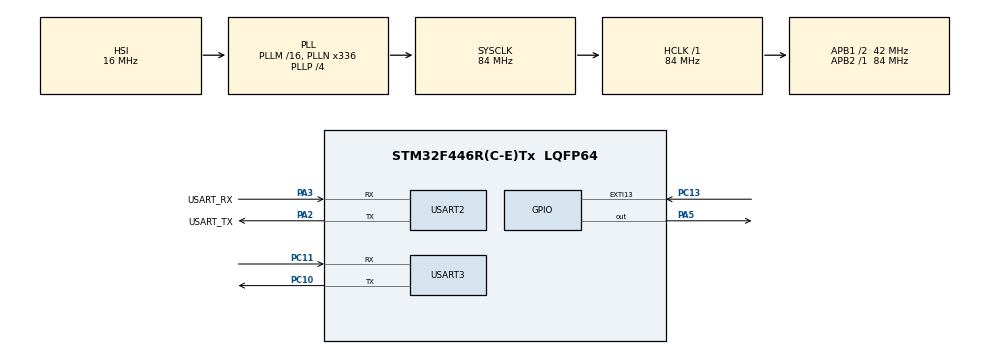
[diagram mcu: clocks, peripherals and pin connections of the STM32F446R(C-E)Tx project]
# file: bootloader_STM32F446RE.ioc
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Mcu.Family=STM32F4
Mcu.Name=STM32F446R(C-E)Tx
Mcu.Package=LQFP64
NUCLEO-F446RE.BUTTON=1
NUCLEO-F446RE.LD1=true
NVIC.EXTI15_10_IRQn=true\:0\:0\:false\:false\:true\:false\:true\:true
NVIC.PriorityGroup=NVIC_PRIORITYGROUP_0
PA13.GPIO_Label=TMS
PA13.Signal=SYS_JTMS-SWDIO
PA14.GPIO_Label=TCK
PA14.Signal=SYS_JTCK-SWCLK
PA2.GPIO_Label=USART_TX
PA2.Mode=Asynchronous
PA2.Signal=USART2_TX
PA3.GPIO_Label=USART_RX
PA3.Mode=Asynchronous
PA3.Signal=USART2_RX
PA5.Signal=GPIO_Output
PB3.GPIO_Label=SWO
PB3.Signal=SYS_JTDO-SWO
PC10.Mode=Asynchronous
PC10.Signal=USART3_TX
PC11.Mode=Asynchronous
PC11.Signal=USART3_RX
PC13.Signal=GPXTI13
PC14-OSC32_IN.Signal=RCC_OSC32_IN
PC15-OSC32_OUT.Signal=RCC_OSC32_OUT
PH0-OSC_IN.Signal=RCC_OSC_IN
PH1-OSC_OUT.Signal=RCC_OSC_OUT
ProjectManager.HeapSize=0x200
ProjectManager.StackSize=0x400
ProjectManager.TargetToolchain=STM32CubeIDE
RCC.AHBFreq_Value=84000000
RCC.APB1CLKDivider=RCC_HCLK_DIV2
RCC.APB1Freq_Value=42000000
RCC.APB1TimFreq_Value=84000000
RCC.APB2Freq_Value=84000000
RCC.APB2TimFreq_Value=84000000
RCC.CortexFreq_Value=84000000
RCC.FLatency-AdvancedSettings=FLASH_LATENCY_2
RCC.HCLKFreq_Value=84000000
RCC.HSE_VALUE=8000000
RCC.HSI_VALUE=16000000
RCC.LSE_VALUE=32768
RCC.PLLN=336
RCC.PLLP=RCC_PLLP_DIV4
RCC.SYSCLKFreq_VALUE=84000000
RCC.SYSCLKSource=RCC_SYSCLKSOURCE_PLLCLK
RCC.USBFreq_Value=168000000
RCC.VCOOutputFreq_Value=336000000
USART2.VirtualMode=VM_ASYNC
USART3.VirtualMode=VM_ASYNC
VP_CRC_VS_CRC.Mode=CRC_Activate
VP_NUCLEO-F446RE_VS_BSP_COMMON.Mode=COMMON
board=NUCLEO-F446RE

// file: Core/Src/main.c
/* USER CODE BEGIN Header */
/**
  ******************************************************************************
  * @file           : main.c
  * @brief          : Main program body
  ******************************************************************************
  * @attention
  *
  * Copyright (c) 2026 STMicroelectronics.
  * All rights reserved.
  *
  * This software is licensed under terms that can be found in the LICENSE file
  * in the root directory of this software component.
  * If no LICENSE file comes with this software, it is provided AS-IS.
  *
  ******************************************************************************
  */
/* USER CODE END Header */
#include "main.h"

/* USER CODE BEGIN Includes */
#include <string.h>
#include <stdio.h>

/* USER CODE END Includes */

/* USER CODE BEGIN PM */
#define D_UART (&huart3)
#define C_UART (&huart2)

/* USER CODE END PM */

CRC_HandleTypeDef hcrc;

UART_HandleTypeDef huart2;
UART_HandleTypeDef huart3;

/* USER CODE BEGIN PV */
uint8_t bl_rx_buffer[256];
const uint8_t supported_commands[] = {
  BL_GET_VER,
  BL_GET_HELP,
  BL_GET_CID,
  BL_GET_RDP_STATUS,
  BL_GO_TO_ADDR,
  BL_FLASH_ERASE,
  BL_MEM_WRITE,
  BL_EN_R_W_PROTECT,
  BL_MEM_READ,
  BL_READ_SECTOR_STATUS,
  BL_OTP_READ,
  BL_DIS_R_W_PROTECT
};

/* USER CODE END PV */

void SystemClock_Config(void);
static void MX_GPIO_Init(void);
static void MX_USART2_UART_Init(void);
static void MX_USART3_UART_Init(void);
static void MX_CRC_Init(void);
/* USER CODE BEGIN PFP */

void printmsg(const char *message);
uint16_t get_mcu_chip_id(void);
uint8_t get_flashrdp_level(void);
uint8_t verify_address(uint32_t go_address);
void bootlader_uart_read_data(void);
void bootlaoder_uart_jump_to_user_app(void);
void bootloader_handle_getver_cmd(uint8_t *bl_rx_buffer);
void bootloader_handle_gethelp_cmd(uint8_t *bl_rx_buffer);
void bootloader_handle_getcid_cmd(uint8_t *bl_rx_buffer);
void bootloader_handle_getrdp_cmd(uint8_t *bl_rx_buffer);
void bootloader_handle_go_cmd(uint8_t *bl_rx_buffer);
void bootloader_handle_flash_erase_cmd(uint8_t *bl_rx_buffer);
uint8_t execute_flash_erase(uint8_t sector_number, uint8_t number_of_sectors);
void bootloader_handle_mem_write_cmd(uint8_t *bl_rx_buffer);
uint8_t execute_mem_write(uint8_t *buffer, uint32_t mem_address, uint32_t length);
void bootloader_handle_endis_rw_protect(uint8_t *bl_rx_buffer);
uint8_t configure_flash_sector_rw_protection(uint8_t sector_details,
                                             uint8_t protection_mode,
                                             uint8_t disable);
void bootloader_handle_mem_read(uint8_t *bl_rx_buffer);
void bootloader_handle_read_sector_status(uint8_t *bl_rx_buffer);
void bootloader_handle_read_otp(uint8_t *bl_rx_buffer);
/* USER CODE END PFP */

/* USER CODE BEGIN 0 */
char Selectedbootloader[] = "Bootloader mode\r\n";
char SelectedApplication[] = "Application mode\r\n";
char InWhileLoop[] = "InWhileLoop\r\n";
/* USER CODE END 0 */

int main(void)
{

  /* MCU Configuration--------------------------------------------------------*/

  /* Reset of all peripherals, Initializes the Flash interface and the Systick. */
  HAL_Init();

  /* Configure the system clock */
  SystemClock_Config();

  /* Initialize all configured peripherals */
  MX_GPIO_Init();
  MX_USART2_UART_Init();
  MX_USART3_UART_Init();
  MX_CRC_Init();

  /* Initialize leds */
  BSP_LED_Init(LED2);

  /* Initialize USER push-button, will be used to trigger an interrupt each time it's pressed.*/
  BSP_PB_Init(BUTTON_USER, BUTTON_MODE_EXTI);

  /* Infinite loop */
  /* USER CODE BEGIN WHILE */
  /*check whether the button is pressed or not*/
  if(HAL_GPIO_ReadPin(KEY_BUTTON_GPIO_PORT,USER_BUTTON_PIN) == GPIO_PIN_RESET)
  {
	  printmsg(Selectedbootloader);
	  bootlader_uart_read_data();
  }
  else
  {
	  printmsg(SelectedApplication);
	  bootlaoder_uart_jump_to_user_app();
  }
  while (1)
  {

	  printmsg(InWhileLoop);
//	  uint32_t current_tick = HAL_GetTick();
//	  while(HAL_GetTick() <= (current_tick + 1000));
	  HAL_Delay(1000);
    /* USER CODE END WHILE */

  }
}

void SystemClock_Config(void)
{
  RCC_OscInitTypeDef RCC_OscInitStruct = {0};
  RCC_ClkInitTypeDef RCC_ClkInitStruct = {0};

  /** Configure the main internal regulator output voltage
  */
  __HAL_RCC_PWR_CLK_ENABLE();
  __HAL_PWR_VOLTAGESCALING_CONFIG(PWR_REGULATOR_VOLTAGE_SCALE3);

  /** Initializes the RCC Oscillators according to the specified parameters
  * in the RCC_OscInitTypeDef structure.
  */
  RCC_OscInitStruct.OscillatorType = RCC_OSCILLATORTYPE_HSI;
  RCC_OscInitStruct.HSIState = RCC_HSI_ON;
  RCC_OscInitStruct.HSICalibrationValue = RCC_HSICALIBRATION_DEFAULT;
  RCC_OscInitStruct.PLL.PLLState = RCC_PLL_ON;
  RCC_OscInitStruct.PLL.PLLSource = RCC_PLLSOURCE_HSI;
  RCC_OscInitStruct.PLL.PLLM = 16;
  RCC_OscInitStruct.PLL.PLLN = 336;
  RCC_OscInitStruct.PLL.PLLP = RCC_PLLP_DIV4;
  RCC_OscInitStruct.PLL.PLLQ = 2;
  RCC_OscInitStruct.PLL.PLLR = 2;
  if (HAL_RCC_OscConfig(&RCC_OscInitStruct) != HAL_OK)
  {
    Error_Handler();
  }

  /** Initializes the CPU, AHB and APB buses clocks
  */
  RCC_ClkInitStruct.ClockType = RCC_CLOCKTYPE_HCLK|RCC_CLOCKTYPE_SYSCLK
                              |RCC_CLOCKTYPE_PCLK1|RCC_CLOCKTYPE_PCLK2;
  RCC_ClkInitStruct.SYSCLKSource = RCC_SYSCLKSOURCE_PLLCLK;
  RCC_ClkInitStruct.AHBCLKDivider = RCC_SYSCLK_DIV1;
  RCC_ClkInitStruct.APB1CLKDivider = RCC_HCLK_DIV2;
  RCC_ClkInitStruct.APB2CLKDivider = RCC_HCLK_DIV1;

  if (HAL_RCC_ClockConfig(&RCC_ClkInitStruct, FLASH_LATENCY_2) != HAL_OK)
  {
    Error_Handler();
  }
}

static void MX_CRC_Init(void)
{

  hcrc.Instance = CRC;
  if (HAL_CRC_Init(&hcrc) != HAL_OK)
  {
    Error_Handler();
  }

}

static void MX_USART2_UART_Init(void)
{

  huart2.Instance = USART2;
  huart2.Init.BaudRate = 115200;
  huart2.Init.WordLength = UART_WORDLENGTH_8B;
  huart2.Init.StopBits = UART_STOPBITS_1;
  huart2.Init.Parity = UART_PARITY_NONE;
  huart2.Init.Mode = UART_MODE_TX_RX;
  huart2.Init.HwFlowCtl = UART_HWCONTROL_NONE;
  huart2.Init.OverSampling = UART_OVERSAMPLING_16;
  if (HAL_UART_Init(&huart2) != HAL_OK)
  {
    Error_Handler();
  }

}

static void MX_USART3_UART_Init(void)
{

  huart3.Instance = USART3;
  huart3.Init.BaudRate = 115200;
  huart3.Init.WordLength = UART_WORDLENGTH_8B;
  huart3.Init.StopBits = UART_STOPBITS_1;
  huart3.Init.Parity = UART_PARITY_NONE;
  huart3.Init.Mode = UART_MODE_TX_RX;
  huart3.Init.HwFlowCtl = UART_HWCONTROL_NONE;
  huart3.Init.OverSampling = UART_OVERSAMPLING_16;
  if (HAL_UART_Init(&huart3) != HAL_OK)
  {
    Error_Handler();
  }

}

static void MX_GPIO_Init(void)
{

  /* GPIO Ports Clock Enable */
  __HAL_RCC_GPIOC_CLK_ENABLE();
  __HAL_RCC_GPIOH_CLK_ENABLE();
  __HAL_RCC_GPIOA_CLK_ENABLE();
  __HAL_RCC_GPIOB_CLK_ENABLE();

}

/* USER CODE BEGIN 4 */
/**
  * @brief Send a null-terminated message through the debug UART.
  */
void printmsg(const char *message)
{
  HAL_UART_Transmit(D_UART, (const uint8_t *)message,
                    (uint16_t)strlen(message), HAL_MAX_DELAY);
}

/*
 * Provisional request: [length][command][arguments...][CRC32 LE].
 * length counts all bytes after itself, including the CRC.
 * Hardware CRC covers length, command and arguments (not the CRC), with
 * each byte zero-extended to one 32-bit word, MSB first, no final XOR.
 * len excludes the trailing host CRC bytes.
 */
uint8_t bootloader_verify_crc(uint8_t *p_data, uint8_t len, uint32_t crc_host)
{
  uint32_t uwCRCvalue = 0xFFU;

  if (p_data == NULL || len == 0U)
  {
    return VERIFY_CRC_FAILURE;
  }

  __HAL_CRC_DR_RESET(&hcrc);
  for (uint16_t i = 0U; i < len; ++i)
  {
    uint32_t data_word = p_data[i];
    uwCRCvalue = HAL_CRC_Accumulate(&hcrc, &data_word, 1U);
  }

  return (uwCRCvalue == crc_host) ? VERIFY_CRC_SUCCESS : VERIFY_CRC_FAILURE;
}

/* Validate framing before extracting the host CRC or narrowing the data length. */
static uint8_t bootloader_verify_packet(uint8_t *packet)
{
  if (packet == NULL)
  {
    return VERIFY_CRC_FAILURE;
  }

  uint16_t packet_len = (uint16_t)packet[0] + 1U;
  if (packet_len < BL_MIN_PACKET_SIZE || packet_len > sizeof(bl_rx_buffer))
  {
    return VERIFY_CRC_FAILURE;
  }

  uint16_t data_len = packet_len - BL_CRC_SIZE;
  uint32_t host_crc = (uint32_t)packet[data_len] |
                      ((uint32_t)packet[data_len + 1U] << 8U) |
                      ((uint32_t)packet[data_len + 2U] << 16U) |
                      ((uint32_t)packet[data_len + 3U] << 24U);
  /* A maximum 256-byte packet contains only 252 bytes covered by the CRC. */
  return bootloader_verify_crc(packet, (uint8_t)data_len, host_crc);
}

HAL_StatusTypeDef bootloader_uart_write_data(const uint8_t *data, uint16_t length)
{
  if (data == NULL || length == 0U)
  {
    return HAL_ERROR;
  }
  return HAL_UART_Transmit(C_UART, data, length, HAL_MAX_DELAY);
}

HAL_StatusTypeDef bootloader_send_ack(uint8_t reply_len)
{
  const uint8_t ack[] = {BL_ACK, reply_len};
  return bootloader_uart_write_data(ack, sizeof(ack));
}

HAL_StatusTypeDef bootloader_send_nack(void)
{
  const uint8_t nack = BL_NACK;
  return bootloader_uart_write_data(&nack, sizeof(nack));
}

uint8_t get_bootloader_version(void)
{
  return BL_VERSION;
}

uint16_t get_mcu_chip_id(void)
{
  return (uint16_t)(DBGMCU->IDCODE & DBGMCU_IDCODE_DEV_ID);
}

uint8_t get_flashrdp_level(void)
{
  uint8_t rdp_status = (uint8_t)((FLASH->OPTCR >> 8U) & 0xFFU);
  return rdp_status;
}

uint8_t verify_address(uint32_t go_address)
{
  if ((go_address >= FLASH_BASE) && (go_address <= FLASH_END))
  {
    return ADD_VALID;
  }

  if ((go_address >= SYSTEM_MEMORY_BASE_ADDRESS) &&
      (go_address <= SYSTEM_MEMORY_END_ADDRESS))
  {
    return ADD_VALID;
  }

  if ((go_address >= SRAM1_BASE) && (go_address < SRAM1_END))
  {
    return ADD_VALID;
  }

  if ((go_address >= SRAM2_BASE) && (go_address < SRAM2_END))
  {
    return ADD_VALID;
  }

  /* Check backup SRAM before the peripheral region, which contains it. */
  if ((go_address >= BKPSRAM_BASE) && (go_address < BKPSRAM_END))
  {
    return ADD_VALID;
  }

  if ((go_address >= PERIPH_BASE) &&
      (go_address <= PERIPHERAL_MEMORY_END_ADDRESS))
  {
    return ADD_INVALID;
  }

  if ((go_address >= EXTERNAL_MEMORY_BASE_ADDRESS) &&
      (go_address <= EXTERNAL_MEMORY_END_ADDRESS))
  {
    return ADD_VALID;
  }

  return ADD_INVALID;
}

void bootloader_handle_getver_cmd(uint8_t *packet)
{
  if (bootloader_verify_packet(packet) != VERIFY_CRC_SUCCESS)
  {
    printmsg("GET_VER: invalid packet or CRC\r\n");
    bootloader_send_nack();
    return;
  }
  /* GET_VER has no command arguments. */
  if ((uint16_t)packet[0] + 1U != BL_MIN_PACKET_SIZE)
  {
    printmsg("GET_VER: unexpected arguments\r\n");
    bootloader_send_nack();
    return;
  }

  if (bootloader_send_ack(1U) != HAL_OK)
  {
    return;
  }
  uint8_t bl_version = get_bootloader_version();
  char message[40];
  snprintf(message, sizeof(message), "Bootloader version: 0x%02X\r\n",
           (unsigned int)bl_version);
  printmsg(message);
  bootloader_uart_write_data(&bl_version, sizeof(bl_version));
}

void bootloader_handle_gethelp_cmd(uint8_t *packet)
{
  if (bootloader_verify_packet(packet) != VERIFY_CRC_SUCCESS)
  {
    printmsg("GET_HELP: invalid packet or CRC\r\n");
    bootloader_send_nack();
    return;
  }
  /* GET_HELP has no command arguments. */
  if ((uint16_t)packet[0] + 1U != BL_MIN_PACKET_SIZE)
  {
    printmsg("GET_HELP: unexpected arguments\r\n");
    bootloader_send_nack();
    return;
  }

  uint8_t command_count = (uint8_t)sizeof(supported_commands);
  if (bootloader_send_ack(command_count) != HAL_OK)
  {
    return;
  }
  printmsg("GET_HELP: sending supported commands\r\n");
  bootloader_uart_write_data(supported_commands, command_count);
}

void bootloader_handle_getcid_cmd(uint8_t *packet)
{
  if (bootloader_verify_packet(packet) != VERIFY_CRC_SUCCESS)
  {
    printmsg("GET_CID: invalid packet or CRC\r\n");
    bootloader_send_nack();
    return;
  }
  /* GET_CID has no command arguments. */
  if ((uint16_t)packet[0] + 1U != BL_MIN_PACKET_SIZE)
  {
    printmsg("GET_CID: unexpected arguments\r\n");
    bootloader_send_nack();
    return;
  }

  uint16_t bl_cid_num = get_mcu_chip_id();
  if (bootloader_send_ack((uint8_t)sizeof(bl_cid_num)) != HAL_OK)
  {
    return;
  }
  printmsg("GET_CID: sending MCU chip ID\r\n");
  bootloader_uart_write_data((const uint8_t *)&bl_cid_num,
                             (uint16_t)sizeof(bl_cid_num));
}

void bootloader_handle_getrdp_cmd(uint8_t *packet)
{
  if (bootloader_verify_packet(packet) != VERIFY_CRC_SUCCESS)
  {
    printmsg("GET_RDP_STATUS: invalid packet or CRC\r\n");
    bootloader_send_nack();
    return;
  }
  /* GET_RDP_STATUS has no command arguments. */
  if ((uint16_t)packet[0] + 1U != BL_MIN_PACKET_SIZE)
  {
    printmsg("GET_RDP_STATUS: unexpected arguments\r\n");
    bootloader_send_nack();
    return;
  }

  uint8_t rdp_status = get_flashrdp_level();
  if (bootloader_send_ack((uint8_t)sizeof(rdp_status)) != HAL_OK)
  {
    return;
  }
  printmsg("GET_RDP_STATUS: sending RDP option byte\r\n");
  bootloader_uart_write_data(&rdp_status, (uint16_t)sizeof(rdp_status));
}

void bootloader_handle_go_cmd(uint8_t *packet)
{
  if (bootloader_verify_packet(packet) != VERIFY_CRC_SUCCESS)
  {
    printmsg("GO_TO_ADDR: invalid packet or CRC\r\n");
    bootloader_send_nack();
    return;
  }

  /* GO_TO_ADDR carries exactly one 32-bit address argument. */
  if ((uint16_t)packet[0] + 1U !=
      (BL_MIN_PACKET_SIZE + (uint16_t)sizeof(uint32_t)))
  {
    printmsg("GO_TO_ADDR: invalid packet length\r\n");
    bootloader_send_nack();
    return;
  }

  if (bootloader_send_ack(1U) != HAL_OK)
  {
    return;
  }

  uint32_t go_address;
  memcpy(&go_address, &packet[2], sizeof(go_address));

  char message[64];
  snprintf(message, sizeof(message), "GO_TO_ADDR: address 0x%08lX\r\n",
           (unsigned long)go_address);
  printmsg(message);

  uint8_t address_status = verify_address(go_address);
  if (bootloader_uart_write_data(&address_status, sizeof(address_status)) != HAL_OK)
  {
    return;
  }

  if (address_status == ADD_VALID)
  {
    printmsg("GO_TO_ADDR: address is valid\r\n");

    /* Cortex-M function pointers must have the Thumb-state bit set. */
    go_address += 1U;
    void (*go_to_address)(void) = (void (*)(void))go_address;

    snprintf(message, sizeof(message), "GO_TO_ADDR: going to 0x%08lX\r\n",
             (unsigned long)go_address);
    printmsg(message);
    go_to_address();
  }
  else
  {
    printmsg("GO_TO_ADDR: address is invalid\r\n");
  }
}

void bootloader_handle_flash_erase_cmd(uint8_t *packet)
{
  if (bootloader_verify_packet(packet) != VERIFY_CRC_SUCCESS)
  {
    printmsg("FLASH_ERASE: invalid packet or CRC\r\n");
    bootloader_send_nack();
    return;
  }

  /* FLASH_ERASE carries a sector number and the number of sectors to erase. */
  if ((uint16_t)packet[0] + 1U !=
      (BL_MIN_PACKET_SIZE + (2U * (uint16_t)sizeof(uint8_t))))
  {
    printmsg("FLASH_ERASE: invalid packet length\r\n");
    bootloader_send_nack();
    return;
  }

  uint8_t sector_number = packet[2];
  uint8_t number_of_sectors = packet[3];

  if (bootloader_send_ack(1U) != HAL_OK)
  {
    return;
  }

  BSP_LED_On(LED2);
  uint8_t erase_status = execute_flash_erase(sector_number, number_of_sectors);
  BSP_LED_Off(LED2);

  bootloader_uart_write_data(&erase_status, sizeof(erase_status));
}

uint8_t execute_flash_erase(uint8_t sector_number, uint8_t number_of_sectors)
{
  FLASH_EraseInitTypeDef erase_config = {0};
  uint32_t sector_error = 0xFFFFFFFFU;
  HAL_StatusTypeDef erase_status;

  if ((number_of_sectors < 1U) || (number_of_sectors > 7U))
  {
    return (uint8_t)HAL_ERROR;
  }

  if (sector_number == 0xFFU)
  {
    erase_config.TypeErase = FLASH_TYPEERASE_MASSERASE;
  }
  else
  {
    if ((sector_number > FLASH_SECTOR_7) ||
        (((uint16_t)sector_number + (uint16_t)number_of_sectors) > 8U))
    {
      return (uint8_t)HAL_ERROR;
    }

    erase_config.TypeErase = FLASH_TYPEERASE_SECTORS;
    erase_config.Sector = sector_number;
    erase_config.NbSectors = number_of_sectors;
  }

  erase_config.Banks = FLASH_BANK_1;
  erase_config.VoltageRange = FLASH_VOLTAGE_RANGE_3;

  erase_status = HAL_FLASH_Unlock();
  if (erase_status == HAL_OK)
  {
    erase_status = HAL_FLASHEx_Erase(&erase_config, &sector_error);
    if ((erase_status == HAL_OK) && (sector_error != 0xFFFFFFFFU))
    {
      erase_status = HAL_ERROR;
    }
  }

  if (HAL_FLASH_Lock() != HAL_OK)
  {
    erase_status = HAL_ERROR;
  }

  return (uint8_t)erase_status;
}

void bootloader_handle_mem_write_cmd(uint8_t *packet)
{
  if (bootloader_verify_packet(packet) != VERIFY_CRC_SUCCESS)
  {
    printmsg("MEM_WRITE: invalid packet or CRC\r\n");
    bootloader_send_nack();
    return;
  }

  /* MEM_WRITE carries a 32-bit address, a one-byte payload length and data. */
  if ((uint16_t)packet[0] + 1U <
      (BL_MIN_PACKET_SIZE + (uint16_t)sizeof(uint32_t) +
       (uint16_t)sizeof(uint8_t)))
  {
    printmsg("MEM_WRITE: invalid packet length\r\n");
    bootloader_send_nack();
    return;
  }

  uint8_t payload_length = packet[6];
  uint16_t expected_packet_length = BL_MIN_PACKET_SIZE +
                                    (uint16_t)sizeof(uint32_t) +
                                    (uint16_t)sizeof(payload_length) +
                                    (uint16_t)payload_length;
  if (((uint16_t)packet[0] + 1U != expected_packet_length) ||
      (payload_length == 0U))
  {
    printmsg("MEM_WRITE: invalid packet length\r\n");
    bootloader_send_nack();
    return;
  }

  if (bootloader_send_ack(1U) != HAL_OK)
  {
    return;
  }

  uint32_t mem_address;
  memcpy(&mem_address, &packet[2], sizeof(mem_address));

  uint8_t write_status = ADD_INVALID;
  if (verify_address(mem_address) == ADD_VALID)
  {
    BSP_LED_On(LED2);
    write_status = execute_mem_write(&packet[7], mem_address, payload_length);
    BSP_LED_Off(LED2);
  }

  bootloader_uart_write_data(&write_status, sizeof(write_status));
}

uint8_t execute_mem_write(uint8_t *buffer, uint32_t mem_address, uint32_t length)
{
  HAL_StatusTypeDef status = HAL_OK;

  /* HAL_FLASH_Program is valid only when the complete write lies in flash. */
  if ((buffer == NULL) || (length == 0U) ||
      (mem_address < FLASH_BASE) || (mem_address > FLASH_END) ||
      ((length - 1U) > (FLASH_END - mem_address)))
  {
    return (uint8_t)HAL_ERROR;
  }

  status = HAL_FLASH_Unlock();
  if (status == HAL_OK)
  {
    for (uint32_t index = 0U; index < length; ++index)
    {
      status = HAL_FLASH_Program(FLASH_TYPEPROGRAM_BYTE,
                                 mem_address + index,
                                 buffer[index]);
      if (status != HAL_OK)
      {
        break;
      }
    }
  }

  if (HAL_FLASH_Lock() != HAL_OK)
  {
    status = HAL_ERROR;
  }

  return (uint8_t)status;
}

void bootloader_handle_endis_rw_protect(uint8_t *packet)
{
  if (bootloader_verify_packet(packet) != VERIFY_CRC_SUCCESS)
  {
    printmsg("EN/DIS_R_W_PROTECT: invalid packet or CRC\r\n");
    bootloader_send_nack();
    return;
  }

  uint8_t sector_details = 0U;
  uint8_t protection_mode = 0U;
  uint8_t disable = 0U;

  if (packet[1] == BL_EN_R_W_PROTECT)
  {
    /* Enable carries a sector bitmap and a protection mode. */
    if ((uint16_t)packet[0] + 1U !=
        (BL_MIN_PACKET_SIZE + (2U * (uint16_t)sizeof(uint8_t))))
    {
      printmsg("EN_R_W_PROTECT: invalid packet length\r\n");
      bootloader_send_nack();
      return;
    }

    sector_details = packet[2];
    protection_mode = packet[3];
  }
  else if (packet[1] == BL_DIS_R_W_PROTECT)
  {
    /* Disable has no arguments; the helper ignores its first two parameters. */
    if ((uint16_t)packet[0] + 1U != BL_MIN_PACKET_SIZE)
    {
      printmsg("DIS_R_W_PROTECT: invalid packet length\r\n");
      bootloader_send_nack();
      return;
    }

    disable = FLASH_PROTECTION_DISABLE;
  }
  else
  {
    bootloader_send_nack();
    return;
  }

  if (bootloader_send_ack(1U) != HAL_OK)
  {
    return;
  }

  uint8_t protection_status = configure_flash_sector_rw_protection(
      sector_details, protection_mode, disable);
  bootloader_uart_write_data(&protection_status, sizeof(protection_status));
}

uint8_t configure_flash_sector_rw_protection(uint8_t sector_details,
                                             uint8_t protection_mode,
                                             uint8_t disable)
{
  HAL_StatusTypeDef status;
  uint32_t option_value;
  const uint32_t error_flags = FLASH_FLAG_OPERR | FLASH_FLAG_WRPERR |
                               FLASH_FLAG_PGAERR | FLASH_FLAG_PGPERR |
                               FLASH_FLAG_PGSERR | FLASH_FLAG_RDERR;

  if ((disable != FLASH_PROTECTION_DISABLE) &&
      ((sector_details == 0U) ||
       ((protection_mode != FLASH_PROTECTION_WRITE) &&
        (protection_mode != FLASH_PROTECTION_READ_WRITE))))
  {
    return (uint8_t)HAL_ERROR;
  }

  status = HAL_FLASH_OB_Unlock();
  if (status != HAL_OK)
  {
    return (uint8_t)status;
  }

  while (__HAL_FLASH_GET_FLAG(FLASH_FLAG_BSY) != RESET)
  {
  }

  __HAL_FLASH_CLEAR_FLAG(FLASH_FLAG_EOP | error_flags);

  option_value = FLASH->OPTCR;
  option_value &= ~(FLASH_OPTCR_SPRMOD | FLASH_OPTCR_nWRP_Msk);

  if (disable == FLASH_PROTECTION_DISABLE)
  {
    /* SPRMOD=0 and nWRP=1 disable protection for every F446 sector. */
    option_value |= ((uint32_t)FLASH_USER_SECTOR_MASK <<
                     FLASH_OPTCR_nWRP_Pos);
  }
  else if (protection_mode == FLASH_PROTECTION_WRITE)
  {
    /* SPRMOD=0: a zero nWRP bit enables write protection. */
    option_value |= ((uint32_t)(~sector_details & FLASH_USER_SECTOR_MASK) <<
                     FLASH_OPTCR_nWRP_Pos);
  }
  else
  {
    /* SPRMOD=1: a one nWRP bit enables PCROP read/write protection. */
    option_value |= FLASH_OPTCR_SPRMOD;
    option_value |= ((uint32_t)sector_details << FLASH_OPTCR_nWRP_Pos);
  }

  FLASH->OPTCR = option_value;
  FLASH->OPTCR |= FLASH_OPTCR_OPTSTRT;

  while (__HAL_FLASH_GET_FLAG(FLASH_FLAG_BSY) != RESET)
  {
  }

  if (__HAL_FLASH_GET_FLAG(FLASH_FLAG_EOP) != RESET)
  {
    __HAL_FLASH_CLEAR_FLAG(FLASH_FLAG_EOP);
  }

  if (__HAL_FLASH_GET_FLAG(error_flags) != RESET)
  {
    status = HAL_ERROR;
    __HAL_FLASH_CLEAR_FLAG(error_flags);
  }

  if (HAL_FLASH_OB_Lock() != HAL_OK)
  {
    status = HAL_ERROR;
  }

  return (uint8_t)status;
}

void bootloader_handle_mem_read(uint8_t *packet)
{
  if (bootloader_verify_packet(packet) != VERIFY_CRC_SUCCESS)
  {
    printmsg("MEM_READ: invalid packet or CRC\r\n");
    bootloader_send_nack();
    return;
  }
  /* ACK confirms receipt/CRC only; command execution remains a TODO. */
  if (bootloader_send_ack(0U) != HAL_OK)
  {
    return;
  }
  printmsg("MEM_READ: handler not implemented\r\n");
}

void bootloader_handle_read_sector_status(uint8_t *packet)
{
  if (bootloader_verify_packet(packet) != VERIFY_CRC_SUCCESS)
  {
    printmsg("READ_SECTOR_STATUS: invalid packet or CRC\r\n");
    bootloader_send_nack();
    return;
  }
  /* ACK confirms receipt/CRC only; command execution remains a TODO. */
  if (bootloader_send_ack(0U) != HAL_OK)
  {
    return;
  }
  printmsg("READ_SECTOR_STATUS: handler not implemented\r\n");
}

void bootloader_handle_read_otp(uint8_t *packet)
{
  if (bootloader_verify_packet(packet) != VERIFY_CRC_SUCCESS)
  {
    printmsg("OTP_READ: invalid packet or CRC\r\n");
    bootloader_send_nack();
    return;
  }
  /* ACK confirms receipt/CRC only; command execution remains a TODO. */
  if (bootloader_send_ack(0U) != HAL_OK)
  {
    return;
  }
  printmsg("OTP_READ: handler not implemented\r\n");
}

void bootlader_uart_read_data(void)
{
  uint8_t rcv_len;

  while (1)
  {
    memset(bl_rx_buffer, 0, sizeof(bl_rx_buffer));

    /* Read the number of bytes that follow the length byte. */
    if (HAL_UART_Receive(C_UART, bl_rx_buffer, 1, HAL_MAX_DELAY) != HAL_OK)
    {
      continue;
    }
    rcv_len = bl_rx_buffer[0];

    /* Keep the length at index 0 and receive the payload after it. */
    if (rcv_len > 0)
    {
      if (HAL_UART_Receive(C_UART, &bl_rx_buffer[1], rcv_len, HAL_MAX_DELAY) != HAL_OK)
      {
        continue;
      }

      /* The second byte contains the command code. */
      switch (bl_rx_buffer[1])
      {
        case BL_GET_VER:
          bootloader_handle_getver_cmd(bl_rx_buffer);
          break;

        case BL_GET_HELP:
          bootloader_handle_gethelp_cmd(bl_rx_buffer);
          break;

        case BL_GET_CID:
          bootloader_handle_getcid_cmd(bl_rx_buffer);
          break;

        case BL_GET_RDP_STATUS:
          bootloader_handle_getrdp_cmd(bl_rx_buffer);
          break;

        case BL_GO_TO_ADDR:
          bootloader_handle_go_cmd(bl_rx_buffer);
          break;

        case BL_FLASH_ERASE:
          bootloader_handle_flash_erase_cmd(bl_rx_buffer);
          break;

        case BL_MEM_WRITE:
          bootloader_handle_mem_write_cmd(bl_rx_buffer);
          break;

        case BL_EN_R_W_PROTECT:
          bootloader_handle_endis_rw_protect(bl_rx_buffer);
          break;

        case BL_MEM_READ:
          bootloader_handle_mem_read(bl_rx_buffer);
          break;

        case BL_READ_SECTOR_STATUS:
          bootloader_handle_read_sector_status(bl_rx_buffer);
          break;

        case BL_OTP_READ:
          bootloader_handle_read_otp(bl_rx_buffer);
          break;

        case BL_DIS_R_W_PROTECT:
          bootloader_handle_endis_rw_protect(bl_rx_buffer);
          break;

        default:
          printmsg("Invalid command recieved from the host\r\n");
          break;
      }
    }
  }
}

void bootlaoder_uart_jump_to_user_app(void)
{
	//function to hold the address of reset handler of the3 user app
	void (*app_reset_handler)(void);

	// configure MSP by reading the value from the base addrress of sector 2
	uint32_t msp_value =  *(volatile uint32_t *)FLASH_SECTOR2_BASE_ADDRESS;

	//The function comes from CMSIS
	__set_MSP(msp_value);

	//Fetching the reset handler address of user application fro the location (FLASH_SECTOR2_BASE_ADDRESS + 4)
	uint32_t resethandler_address =  *(volatile uint32_t *)(FLASH_SECTOR2_BASE_ADDRESS + 4);

	app_reset_handler = (void*) resethandler_address;

	app_reset_handler();
}

/* USER CODE END 4 */

void Error_Handler(void)
{
  __disable_irq();
  while (1)
  {
  }
}
